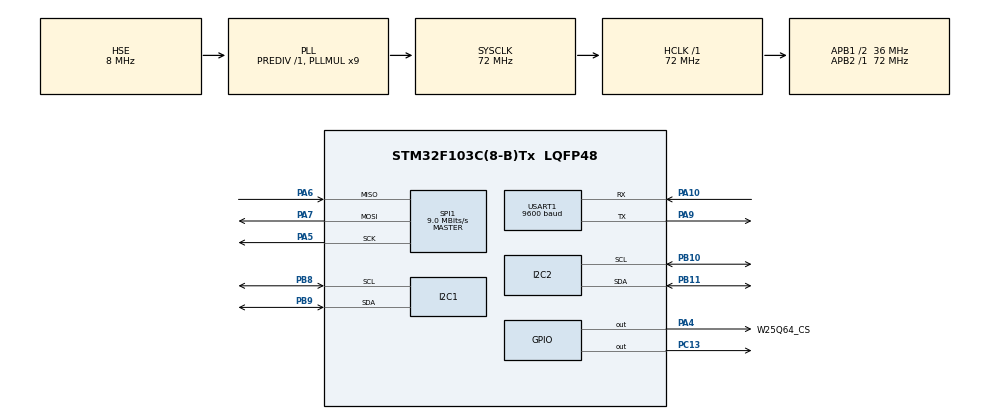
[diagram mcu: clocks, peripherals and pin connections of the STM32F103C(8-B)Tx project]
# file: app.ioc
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Mcu.Family=STM32F1
Mcu.Name=STM32F103C(8-B)Tx
Mcu.Package=LQFP48
NVIC.PriorityGroup=NVIC_PRIORITYGROUP_4
NVIC.USART1_IRQn=true\:5\:0\:true\:false\:true\:true\:true\:true
PA10.Mode=Asynchronous
PA10.Signal=USART1_RX
PA13.Mode=Serial_Wire
PA13.Signal=SYS_JTMS-SWDIO
PA14.Mode=Serial_Wire
PA14.Signal=SYS_JTCK-SWCLK
PA4.GPIO_Label=W25Q64_CS
PA4.GPIO_Speed=GPIO_SPEED_FREQ_HIGH
PA4.PinState=GPIO_PIN_SET
PA4.Signal=GPIO_Output
PA5.Mode=Full_Duplex_Master
PA5.Signal=SPI1_SCK
PA6.Mode=Full_Duplex_Master
PA6.Signal=SPI1_MISO
PA7.Mode=Full_Duplex_Master
PA7.Signal=SPI1_MOSI
PA9.Mode=Asynchronous
PA9.Signal=USART1_TX
PB10.Mode=I2C
PB10.Signal=I2C2_SCL
PB11.Mode=I2C
PB11.Signal=I2C2_SDA
PB8.Mode=I2C
PB8.Signal=I2C1_SCL
PB9.Mode=I2C
PB9.Signal=I2C1_SDA
PC13-TAMPER-RTC.PinState=GPIO_PIN_SET
PC13-TAMPER-RTC.Signal=GPIO_Output
PD0-OSC_IN.Mode=HSE-External-Oscillator
PD0-OSC_IN.Signal=RCC_OSC_IN
PD1-OSC_OUT.Mode=HSE-External-Oscillator
PD1-OSC_OUT.Signal=RCC_OSC_OUT
ProjectManager.HeapSize=0x200
ProjectManager.StackSize=0x400
ProjectManager.TargetToolchain=MDK-ARM V5.32
RCC.AHBFreq_Value=72000000
RCC.APB1CLKDivider=RCC_HCLK_DIV2
RCC.APB1Freq_Value=36000000
RCC.APB1TimFreq_Value=72000000
RCC.APB2Freq_Value=72000000
RCC.APB2TimFreq_Value=72000000
RCC.HCLKFreq_Value=72000000
RCC.PLLMUL=RCC_PLL_MUL9
RCC.PLLSourceVirtual=RCC_PLLSOURCE_HSE
RCC.SYSCLKFreq_VALUE=72000000
RCC.SYSCLKSource=RCC_SYSCLKSOURCE_PLLCLK
RCC.USBFreq_Value=72000000
SPI1.BaudRatePrescaler=SPI_BAUDRATEPRESCALER_8
SPI1.CalculateBaudRate=9.0 MBits/s
SPI1.Direction=SPI_DIRECTION_2LINES
SPI1.Mode=SPI_MODE_MASTER
SPI1.VirtualType=VM_MASTER
USART1.BaudRate=9600
USART1.VirtualMode=VM_ASYNC
board=custom

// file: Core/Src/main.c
/* USER CODE BEGIN Header */
/**
  ******************************************************************************
  * @file           : main.c
  * @brief          : Main program body
  ******************************************************************************
  * @attention
  *
  * Copyright (c) 2026 STMicroelectronics.
  * All rights reserved.
  *
  * This software is licensed under terms that can be found in the LICENSE file
  * in the root directory of this software component.
  * If no LICENSE file comes with this software, it is provided AS-IS.
  *
  ******************************************************************************
  */
/* USER CODE END Header */
#include "main.h"
#include "i2c.h"
#include "spi.h"
#include "usart.h"
#include "gpio.h"

/* USER CODE BEGIN Includes */
#include <string.h>
#include <stdio.h>

/* USER CODE END Includes */

/* USER CODE BEGIN PV */
uint8_t app_rx_buf[10] = {0}; // App 串口接收缓冲区
volatile uint8_t need_reboot_to_ota = 0; // 升级请求：回调置 1，主循环处理
volatile uint8_t need_report_version = 0;
uint8_t app_version_msg[] = "APP_VERSION=1.0.1\r\n";
/* USER CODE END PV */

void SystemClock_Config(void);
/* USER CODE BEGIN PFP */
void App_TriggerOTA_Reboot(void);
/* USER CODE END PFP */

int main(void)
{

  /* USER CODE BEGIN 1 */
	SCB->VTOR = FLASH_BASE | 0x4000; // App 中断向量表地址
	__enable_irq();					// 开启可屏蔽中断
  /* USER CODE END 1 */

  /* MCU Configuration--------------------------------------------------------*/

  /* Reset of all peripherals, Initializes the Flash interface and the Systick. */
  HAL_Init();

  /* Configure the system clock */
  SystemClock_Config();

  /* Initialize all configured peripherals */
  MX_GPIO_Init();
  MX_I2C1_Init();
  MX_I2C2_Init();
  MX_USART1_UART_Init();
  MX_SPI1_Init();
  /* USER CODE BEGIN 2 */
  HAL_UART_Transmit(&huart1, (uint8_t *)"Hello! I am App in 2nd Floor!\r\n", 31, 1000);

  HAL_UARTEx_ReceiveToIdle_IT(&huart1, app_rx_buf, sizeof(app_rx_buf));
  /* USER CODE END 2 */

  /* Infinite loop */
  /* USER CODE BEGIN WHILE */
  while (1)
  {
    if (need_reboot_to_ota)
    {
      need_reboot_to_ota = 0;
      App_TriggerOTA_Reboot();
    }
    if (need_report_version)
    {
        need_report_version = 0; // 清除请求，避免每轮重复发送

        HAL_UART_Transmit(&huart1,app_version_msg,sizeof(app_version_msg) - 1U,1000);
    }
	  HAL_GPIO_TogglePin(GPIOC,GPIO_PIN_13);
	  HAL_Delay(1000);

    /* USER CODE END WHILE */

  }
}

void SystemClock_Config(void)
{
  RCC_OscInitTypeDef RCC_OscInitStruct = {0};
  RCC_ClkInitTypeDef RCC_ClkInitStruct = {0};

  /** Initializes the RCC Oscillators according to the specified parameters
  * in the RCC_OscInitTypeDef structure.
  */
  RCC_OscInitStruct.OscillatorType = RCC_OSCILLATORTYPE_HSE;
  RCC_OscInitStruct.HSEState = RCC_HSE_ON;
  RCC_OscInitStruct.HSEPredivValue = RCC_HSE_PREDIV_DIV1;
  RCC_OscInitStruct.HSIState = RCC_HSI_ON;
  RCC_OscInitStruct.PLL.PLLState = RCC_PLL_ON;
  RCC_OscInitStruct.PLL.PLLSource = RCC_PLLSOURCE_HSE;
  RCC_OscInitStruct.PLL.PLLMUL = RCC_PLL_MUL9;
  if (HAL_RCC_OscConfig(&RCC_OscInitStruct) != HAL_OK)
  {
    Error_Handler();
  }

  /** Initializes the CPU, AHB and APB buses clocks
  */
  RCC_ClkInitStruct.ClockType = RCC_CLOCKTYPE_HCLK|RCC_CLOCKTYPE_SYSCLK
                              |RCC_CLOCKTYPE_PCLK1|RCC_CLOCKTYPE_PCLK2;
  RCC_ClkInitStruct.SYSCLKSource = RCC_SYSCLKSOURCE_PLLCLK;
  RCC_ClkInitStruct.AHBCLKDivider = RCC_SYSCLK_DIV1;
  RCC_ClkInitStruct.APB1CLKDivider = RCC_HCLK_DIV2;
  RCC_ClkInitStruct.APB2CLKDivider = RCC_HCLK_DIV1;

  if (HAL_RCC_ClockConfig(&RCC_ClkInitStruct, FLASH_LATENCY_2) != HAL_OK)
  {
    Error_Handler();
  }
}

/* USER CODE BEGIN 4 */
void App_TriggerOTA_Reboot(void)
{
    uint8_t flag[4] = {0xAA, 0x55, 0xAA, 0x55}; // 升级标志 0x55AA55AA 的小端字节
    uint8_t readback[4] = {0}; // EEPROM 读回值，用于核对

    /* 1. 写入升级标志 */
    if (HAL_I2C_Mem_Write(&hi2c2,0xA0,0x00,I2C_MEMADD_SIZE_8BIT,flag,sizeof(flag),100) != HAL_OK)
    {
        printf("OTA flag write failed\r\n");
        return;
    }

    /* 2. 等待 EEPROM 写入完成 */
    uint32_t start = HAL_GetTick(); // 等待起始时间（ms）
    while (HAL_I2C_IsDeviceReady(&hi2c2, 0xA0, 1, 2) != HAL_OK)
    {
        if ((uint32_t)(HAL_GetTick() - start) >= 20U)
        {
            printf("EEPROM not ready\r\n");
            return;
        }
        HAL_Delay(1);
    }

    /* 3. 按字节读回并核对标志 */
    for (uint16_t i = 0; i < sizeof(readback); i++)
    {
        // EEPROM 地址 i 的字节，存到 readback[i]
        if (HAL_I2C_Mem_Read(&hi2c2, 0xA0, i, I2C_MEMADD_SIZE_8BIT, &readback[i], 1, 100) != HAL_OK)
        {
            printf("OTA flag read failed\r\n");
            return;
        }
    }

    if (memcmp(flag, readback, sizeof(flag)) != 0)
    {
        printf("OTA flag verify failed\r\n");
        return;
    }

    NVIC_SystemReset();
}

// huart：串口句柄；Size：本次接收字节数
void HAL_UARTEx_RxEventCallback(UART_HandleTypeDef *huart,uint16_t Size)
{
    if (huart->Instance == USART1)
    {
        if (Size == 1 && app_rx_buf[0] == 'U')
        {
            need_reboot_to_ota = 1;
        }
        else if (Size == 1 && app_rx_buf[0] == 'V')
        {
            need_report_version = 1;
        }

        HAL_UARTEx_ReceiveToIdle_IT(&huart1, app_rx_buf, sizeof(app_rx_buf));
    }
}
/* USER CODE END 4 */

void Error_Handler(void)
{
  __disable_irq();
  while (1)
  {
  }
}
